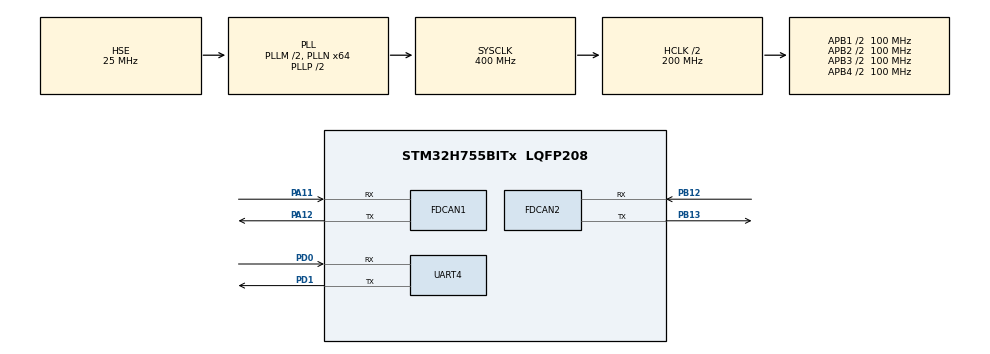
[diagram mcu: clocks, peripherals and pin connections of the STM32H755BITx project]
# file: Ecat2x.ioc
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CortexM4.IPs=CORTEX_M4\:I,DEBUG,FATFS_M4\:I,FREERTOS_M4\:I,IWDG2\:I,OPENAMP_M4\:I,PDM2PCM_M4\:I,PWR,RCC,RESMGR_UTILITY,SYS_M4\:I,USB_DEVICE_M4\:I,USB_HOST_M4\:I,VREFBUF,WWDG2\:I,GPIO,DMA,BDMA,MDMA,NVIC2\:I
CortexM7.IPs=CORTEX_M7\:I,DEBUG\:I,FATFS_M7\:I,FREERTOS_M7\:I,IWDG1\:I,OPENAMP_M7\:I,PDM2PCM_M7\:I,PWR\:I,RCC\:I,RESMGR_UTILITY\:I,SYS\:I,USB_DEVICE_M7\:I,USB_HOST_M7\:I,VREFBUF\:I,WWDG1\:I,GPIO\:I,DMA\:I,BDMA\:I,MDMA\:I,NVIC1\:I,FDCAN2\:I,FDCAN1\:I,UART4\:I,TIM1\:I
FDCAN1.CalculateBaudRateNominal=1000000
FDCAN1.CalculateTimeBitNominal=1000
FDCAN1.CalculateTimeQuantumNominal=100.0
FDCAN1.ClockCalibrationCCU=DISABLE
FDCAN1.FrameFormat=FDCAN_FRAME_CLASSIC
FDCAN1.NominalPrescaler=10
FDCAN1.NominalSyncJumpWidth=1
FDCAN1.NominalTimeSeg1=5
FDCAN1.NominalTimeSeg2=4
FDCAN1.RxFifo0ElmtsNbr=32
FDCAN1.StdFiltersNbr=1
FDCAN1.TxFifoQueueElmtsNbr=32
FDCAN2.CalculateBaudRateNominal=1000000
FDCAN2.CalculateTimeBitNominal=1000
FDCAN2.CalculateTimeQuantumNominal=100.0
FDCAN2.NominalPrescaler=10
FDCAN2.NominalTimeSeg1=5
FDCAN2.NominalTimeSeg2=4
FDCAN2.RxFifo0ElmtsNbr=32
FDCAN2.TxFifoQueueElmtsNbr=32
Mcu.Family=STM32H7
Mcu.Name=STM32H755BITx
Mcu.Package=LQFP208
NVIC1.FDCAN1_IT0_IRQn=true\:0\:0\:false\:false\:true\:true\:true\:true
NVIC1.FDCAN2_IT0_IRQn=true\:0\:0\:false\:false\:true\:true\:true\:true
NVIC1.PriorityGroup=NVIC_PRIORITYGROUP_4
NVIC1.TIM1_UP_IRQn=true\:0\:0\:false\:false\:true\:true\:true\:true
NVIC2.PriorityGroup=NVIC_PRIORITYGROUP_4
PA11.Mode=FDCAN_Activate
PA11.PinAttribute=CortexM7
PA11.Signal=FDCAN1_RX
PA12.Mode=FDCAN_Activate
PA12.PinAttribute=CortexM7
PA12.Signal=FDCAN1_TX
PA13\ (JTMS/SWDIO).Mode=Serial_Wire
PA13\ (JTMS/SWDIO).PinAttribute=CortexM7
PA13\ (JTMS/SWDIO).Signal=DEBUG_JTMS-SWDIO
PA14\ (JTCK/SWCLK).Mode=Serial_Wire
PA14\ (JTCK/SWCLK).PinAttribute=CortexM7
PA14\ (JTCK/SWCLK).Signal=DEBUG_JTCK-SWCLK
PB12.Mode=FDCAN_Activate
PB12.PinAttribute=CortexM7
PB12.Signal=FDCAN2_RX
PB13.Mode=FDCAN_Activate
PB13.PinAttribute=CortexM7
PB13.Signal=FDCAN2_TX
PD0.Mode=Asynchronous
PD0.PinAttribute=CortexM7
PD0.Signal=UART4_RX
PD1.Mode=Asynchronous
PD1.PinAttribute=CortexM7
PD1.Signal=UART4_TX
PH0-OSC_IN\ (PH0).Mode=HSE-External-Oscillator
PH0-OSC_IN\ (PH0).PinAttribute=Free
PH0-OSC_IN\ (PH0).Signal=RCC_OSC_IN
PH1-OSC_OUT\ (PH1).Mode=HSE-External-Oscillator
PH1-OSC_OUT\ (PH1).PinAttribute=Free
PH1-OSC_OUT\ (PH1).Signal=RCC_OSC_OUT
ProjectManager.HeapSize=M4-0x200,M7-0x200
ProjectManager.StackSize=M4-0x400,M7-0x400
ProjectManager.TargetToolchain=STM32CubeIDE
RCC.ADCFreq_Value=50390625
RCC.APB1Freq_Value=100000000
RCC.APB2Freq_Value=100000000
RCC.APB3Freq_Value=100000000
RCC.APB4Freq_Value=100000000
RCC.CortexFreq_Value=400000000
RCC.D1PPRE=RCC_APB3_DIV2
RCC.D2PPRE1=RCC_APB1_DIV2
RCC.D2PPRE2=RCC_APB2_DIV2
RCC.D3PPRE=RCC_APB4_DIV2
RCC.DIVM1=2
RCC.DIVN1=64
RCC.DIVQ1=8
RCC.HCLKFreq_Value=200000000
RCC.HPRE=RCC_HCLK_DIV2
RCC.HSE_VALUE=25000000
RCC.PLL1_VCI_Range=RCC_PLL1VCIRANGE_3
RCC.PLLFRACN=0
RCC.PLLSourceVirtual=RCC_PLLSOURCE_HSE
RCC.SYSCLKFreq_VALUE=400000000
RCC.SYSCLKSource=RCC_SYSCLKSOURCE_PLLCLK
RCC.USBFreq_Value=100000000
SYS.userName=SYS_M7
TIM1.Period=999
TIM1.Prescaler=199
VP_SYS_M4_VS_Systick.Mode=SysTick
VP_TIM1_VS_ClockSourceINT.Mode=Internal
board=custom

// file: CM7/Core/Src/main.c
/* USER CODE BEGIN Header */
/**
  ******************************************************************************
  * @file           : main.c
  * @brief          : Main program body
  ******************************************************************************
  * @attention
  *
  * Copyright (c) 2023 STMicroelectronics.
  * All rights reserved.
  *
  * This software is licensed under terms that can be found in the LICENSE file
  * in the root directory of this software component.
  * If no LICENSE file comes with this software, it is provided AS-IS.
  *
  ******************************************************************************
  */
/* USER CODE END Header */
#include "main.h"
#include "fdcan.h"
#include "tim.h"
#include "usart.h"
#include "gpio.h"

/* USER CODE BEGIN Includes */
#include "motor_control.h"
#include "motor.h"
#include "stdio.h"
/* USER CODE END Includes */

/* USER CODE BEGIN PD */

#ifndef HSEM_ID_0
#define HSEM_ID_0 (0U) /* HW semaphore 0*/
#endif

/* USER CODE END PD */

/* USER CODE BEGIN PV */
uint8_t Tx_quene[8]={0} ;
uint8_t Rx_quene[8]={0} ;
uint8_t Tx_data=0x1;
/* USER CODE END PV */

void SystemClock_Config(void);

/* USER CODE BEGIN 0 */
pid_t_ pid_struct_test;
int count=0;
/* USER CODE END 0 */

int main(void)
{
/* USER CODE BEGIN Boot_Mode_Sequence_0 */

/* USER CODE END Boot_Mode_Sequence_0 */

/* USER CODE BEGIN Boot_Mode_Sequence_1 */
  /* Wait until CPU2 boots and enters in stop mode or timeout*/

/* USER CODE END Boot_Mode_Sequence_1 */
  /* MCU Configuration--------------------------------------------------------*/

  /* Reset of all peripherals, Initializes the Flash interface and the Systick. */
  HAL_Init();

  /* Configure the system clock */
  SystemClock_Config();
/* USER CODE BEGIN Boot_Mode_Sequence_2 */
/* When system initialization is finished, Cortex-M7 will release Cortex-M4 by means of
HSEM notification */
/*HW semaphore Clock enable*/
__HAL_RCC_HSEM_CLK_ENABLE();
/*Take HSEM */

/* USER CODE END Boot_Mode_Sequence_2 */

  /* Initialize all configured peripherals */
  MX_GPIO_Init();
  MX_FDCAN1_Init();
  MX_FDCAN2_Init();
  MX_UART4_Init();
  MX_TIM1_Init();
  /* USER CODE BEGIN 2 */
    can_init();
    HAL_TIM_Base_Start_IT(&htim1);
    motor_pid_init(&pid_struct_test, 5, MOTOR_6020);
    set_pid_param(&pid_struct_test, 1.0f, 0, 0);
  /* USER CODE END 2 */

  /* Infinite loop */
  /* USER CODE BEGIN WHILE */
    Tx_quene[0]=0;
    Tx_quene[1]=0;
    Tx_quene[2]=0;
    Tx_quene[3]=0;
    Tx_quene[4]=0;
    Tx_quene[5]=0;
    Tx_quene[6]=0;
    Tx_quene[7]=0;

    char test_point=2;
    while (1)
  {

//
      /* USER CODE END WHILE */

    /* USER CODE BEGIN 3 */

      FDCAN1_Send_Msg(Tx_quene,8);//FDCAN2 transmit msg
      //HAL_Delay(1);
//      if(FDCAN1_Rec_Msg(Rx_quene,8))//FDCAN1 receive msg
//      {
//          HAL_GPIO_TogglePin(GPIOB, GPIO_PIN_1);
//          for(int i=0;i<7;i++)
//          {
//              printf("%x\r\n",Rx_quene[i]);
//          }
//      }

     // HAL_GPIO_WritePin(GPIOF,GPIO_PIN_11,RESET);
  }
  /* USER CODE END 3 */
}

void SystemClock_Config(void)
{
  RCC_OscInitTypeDef RCC_OscInitStruct = {0};
  RCC_ClkInitTypeDef RCC_ClkInitStruct = {0};

  /** Supply configuration update enable
  */
  HAL_PWREx_ConfigSupply(PWR_DIRECT_SMPS_SUPPLY);

  /** Configure the main internal regulator output voltage
  */
  __HAL_PWR_VOLTAGESCALING_CONFIG(PWR_REGULATOR_VOLTAGE_SCALE1);

  while(!__HAL_PWR_GET_FLAG(PWR_FLAG_VOSRDY)) {}

  /** Initializes the RCC Oscillators according to the specified parameters
  * in the RCC_OscInitTypeDef structure.
  */
  RCC_OscInitStruct.OscillatorType = RCC_OSCILLATORTYPE_HSE;
  RCC_OscInitStruct.HSEState = RCC_HSE_ON;
  RCC_OscInitStruct.PLL.PLLState = RCC_PLL_ON;
  RCC_OscInitStruct.PLL.PLLSource = RCC_PLLSOURCE_HSE;
  RCC_OscInitStruct.PLL.PLLM = 2;
  RCC_OscInitStruct.PLL.PLLN = 64;
  RCC_OscInitStruct.PLL.PLLP = 2;
  RCC_OscInitStruct.PLL.PLLQ = 8;
  RCC_OscInitStruct.PLL.PLLR = 2;
  RCC_OscInitStruct.PLL.PLLRGE = RCC_PLL1VCIRANGE_3;
  RCC_OscInitStruct.PLL.PLLVCOSEL = RCC_PLL1VCOWIDE;
  RCC_OscInitStruct.PLL.PLLFRACN = 0;
  if (HAL_RCC_OscConfig(&RCC_OscInitStruct) != HAL_OK)
  {
    Error_Handler();
  }

  /** Initializes the CPU, AHB and APB buses clocks
  */
  RCC_ClkInitStruct.ClockType = RCC_CLOCKTYPE_HCLK|RCC_CLOCKTYPE_SYSCLK
                              |RCC_CLOCKTYPE_PCLK1|RCC_CLOCKTYPE_PCLK2
                              |RCC_CLOCKTYPE_D3PCLK1|RCC_CLOCKTYPE_D1PCLK1;
  RCC_ClkInitStruct.SYSCLKSource = RCC_SYSCLKSOURCE_PLLCLK;
  RCC_ClkInitStruct.SYSCLKDivider = RCC_SYSCLK_DIV1;
  RCC_ClkInitStruct.AHBCLKDivider = RCC_HCLK_DIV2;
  RCC_ClkInitStruct.APB3CLKDivider = RCC_APB3_DIV2;
  RCC_ClkInitStruct.APB1CLKDivider = RCC_APB1_DIV2;
  RCC_ClkInitStruct.APB2CLKDivider = RCC_APB2_DIV2;
  RCC_ClkInitStruct.APB4CLKDivider = RCC_APB4_DIV2;

  if (HAL_RCC_ClockConfig(&RCC_ClkInitStruct, FLASH_LATENCY_2) != HAL_OK)
  {
    Error_Handler();
  }
}

/* USER CODE BEGIN 4 */
void HAL_TIM_PeriodElapsedCallback(TIM_HandleTypeDef *htim) {
    /* USER CODE BEGIN Callback 0 */
    /* USER CODE END Callback 0 */

    if (htim->Instance == TIM1) {
        count++;
       // FDCAN2_Send_Msg(Tx_quene, 8);//FDCAN2 transmit msg
       // set_motor_current(2000,1);
        //motor_normal_speed(&pid_struct_test, 5, 15.0f);
//        motor_normal_speed(&pid_struct_test1, 6, 55.0f);
        //motor_sin_speed(&pid_struct_sin, 2, 800.0f, times_sin);
    }
}

int __io_putchar(int ch){
        uint8_t temp[1]={ch};
        HAL_UART_Transmit(&huart4,temp,1,0xff);
        return (ch);
}
/* USER CODE END 4 */

void Error_Handler(void)
{
  __disable_irq();
  while (1)
  {
  }
}
